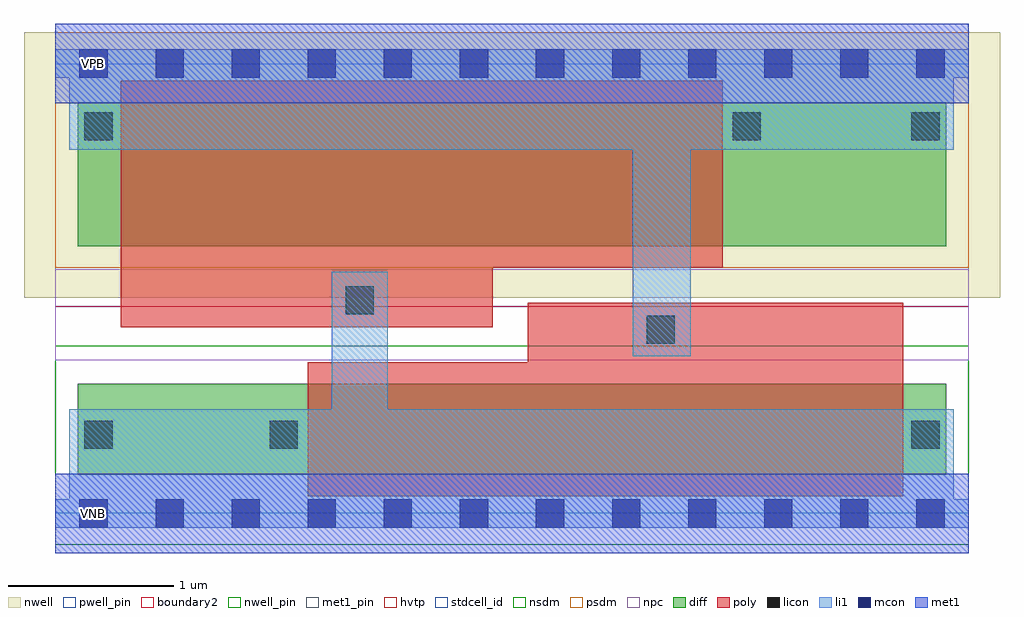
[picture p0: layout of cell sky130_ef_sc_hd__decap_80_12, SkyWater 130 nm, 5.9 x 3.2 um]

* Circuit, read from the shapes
.subckt sky130_ef_sc_hd__decap_80_12 VGND VNB VPB VPWR
XM1 VGND VPWR VGND VNB sky130_fd_pr__nfet_01v8 w=0.55 l=3.6
XM2 VPWR VGND VPWR VPB sky130_fd_pr__pfet_01v8_hvt w=0.87 l=3.64
.ends

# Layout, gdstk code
import gdstk
lib = gdstk.Library(unit=1e-6, precision=1e-09)
def R(c, l, rs):  # rectangles x0, y0, x1, y1
    for r in rs: c.add(gdstk.rectangle(r[:2], r[2:], *l))
def A(c, l, x, y, w, h, nx, ny, dx, dy):  # array of equal rectangles
    R(c, l, [(x+i*dx, y+j*dy, x+i*dx+w, y+j*dy+h) for i in range(nx) for j in range(ny)])
def P(c, l, *ps):  # polygons
    for p in ps: c.add(gdstk.Polygon(p, *l))
nwell_pin = (64, 16)
nwell = (64, 20)
diff = (65, 20)
poly = (66, 20)
licon = (66, 44)
li1 = (67, 20)
mcon = (67, 44)
met1_pin = (68, 16)
met1 = (68, 20)
hvtp = (78, 44)
stdcell_id = (81, 4)
nsdm = (93, 44)
psdm = (94, 20)
npc = (95, 20)
pwell_pin = (122, 16)
boundary2 = (236, 0)

sky130_ef_sc_hd__decap_8 = lib.new_cell('sky130_ef_sc_hd__decap_80_12')
R(sky130_ef_sc_hd__decap_8, nwell_pin, [(0.145,2.635,0.315,2.805)])
R(sky130_ef_sc_hd__decap_8, nwell, [(-0.19,1.305,5.71,2.91)])
R(sky130_ef_sc_hd__decap_8, diff, [(0.135,0.235,5.385,0.785), (0.135,1.615,5.385,2.485)])
P(sky130_ef_sc_hd__decap_8, poly, [(0.395,1.125),(0.395,2.615),(4.035,2.615),(4.035,1.485),(2.645,1.485),(2.645,1.125)],
  [(1.525,0.105),(1.525,0.915),(2.855,0.915),(2.855,1.275),(5.125,1.275),(5.125,0.105)])
R(sky130_ef_sc_hd__decap_8, licon, [(0.175,0.39,0.345,0.56), (1.295,0.39,1.465,0.56), (5.175,0.39,5.345,0.56), (3.575,1.025,3.745,1.195), (1.755,1.205,1.925,1.375), (0.175,2.255,0.345,2.425), (4.095,2.255,4.265,2.425), (5.175,2.255,5.345,2.425)])
R(sky130_ef_sc_hd__decap_8, li1, [(0,-0.085,5.52,0.085), (0.085,0.085,5.43,0.63), (1.67,0.63,2.01,1.46), (3.49,0.95,3.84,2.2), (0.085,2.2,5.43,2.635), (0,2.635,5.52,2.805)])
A(sky130_ef_sc_hd__decap_8, mcon, 0.145, -0.085, 0.17, 0.17, 12, 2, 0.46, 2.72)
R(sky130_ef_sc_hd__decap_8, met1_pin, [(0.145,-0.085,0.315,0.085), (0.145,2.635,0.315,2.805)])
R(sky130_ef_sc_hd__decap_8, hvtp, [(0,1.25,5.52,2.72)])
R(sky130_ef_sc_hd__decap_8, stdcell_id, [(0,0,5.52,2.72)])
R(sky130_ef_sc_hd__decap_8, nsdm, [(0,-0.19,5.52,1.015)])
R(sky130_ef_sc_hd__decap_8, psdm, [(0,1.485,5.52,2.91)])
R(sky130_ef_sc_hd__decap_8, npc, [(0,0.925,5.52,1.475)])
R(sky130_ef_sc_hd__decap_8, pwell_pin, [(0.145,-0.085,0.315,0.085)])
R(sky130_ef_sc_hd__decap_8, boundary2, [(0,0,5.52,2.72)])
sky130_ef_sc_hd__decap_8.add(gdstk.FlexPath([(0,2.72),(5.52,2.72)], 0.48, ends="flush", simple_path=True, layer=68, datatype=20))  # met1
sky130_ef_sc_hd__decap_8.add(gdstk.FlexPath([(0,0),(5.52,0)], 0.48, ends="flush", simple_path=True, layer=68, datatype=20))  # met1
sky130_ef_sc_hd__decap_8.add(gdstk.Label('VNB', (0.23,0), layer=64, texttype=59))
sky130_ef_sc_hd__decap_8.add(gdstk.Label('VPB', (0.23,2.72), layer=64, texttype=5))
sky130_ef_sc_hd__decap_8.add(gdstk.Label('VGND', (0.23,0), layer=68, texttype=5))
sky130_ef_sc_hd__decap_8.add(gdstk.Label('VPWR', (0.23,2.72), layer=68, texttype=5))
sky130_ef_sc_hd__decap_8.add(gdstk.Label('decap_80_12', (0,0), layer=83, texttype=44))

lib.write_gds('sky130_ef_sc_hd__decap_80_12.gds')
